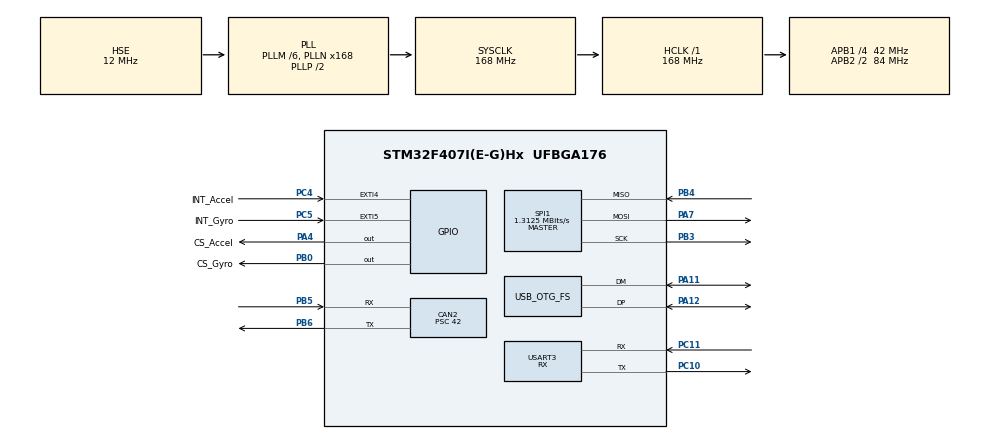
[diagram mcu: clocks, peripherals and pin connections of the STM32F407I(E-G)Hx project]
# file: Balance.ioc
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CAN2.BS1=CAN_BS1_4TQ
CAN2.BS2=CAN_BS2_5TQ
CAN2.CalculateBaudRate=100000
CAN2.CalculateTimeBit=10000
CAN2.CalculateTimeQuantum=1000.0
CAN2.NART=ENABLE
CAN2.Prescaler=42
Dma.Request0=USART3_RX
Dma.USART3_RX.0.Direction=DMA_PERIPH_TO_MEMORY
Dma.USART3_RX.0.FIFOMode=DMA_FIFOMODE_DISABLE
Dma.USART3_RX.0.Instance=DMA1_Stream1
Dma.USART3_RX.0.MemDataAlignment=DMA_MDATAALIGN_BYTE
Dma.USART3_RX.0.MemInc=DMA_MINC_ENABLE
Dma.USART3_RX.0.Mode=DMA_NORMAL
Dma.USART3_RX.0.PeriphDataAlignment=DMA_PDATAALIGN_BYTE
Dma.USART3_RX.0.PeriphInc=DMA_PINC_DISABLE
Dma.USART3_RX.0.Priority=DMA_PRIORITY_HIGH
FREERTOS.INCLUDE_xEventGroupSetBitFromISR=1
FREERTOS.Tasks01=defaultTask,24,128,StartDefaultTask,Default,NULL,Dynamic,NULL,NULL
FREERTOS.configENABLE_FPU=1
FREERTOS.configGENERATE_RUN_TIME_STATS=1
FREERTOS.configMAX_TASK_NAME_LEN=64
FREERTOS.configTOTAL_HEAP_SIZE=15360
FREERTOS.configUSE_STATS_FORMATTING_FUNCTIONS=1
Mcu.Family=STM32F4
Mcu.Name=STM32F407I(E-G)Hx
Mcu.Package=UFBGA176
NVIC.CAN2_RX0_IRQn=true\:5\:0\:false\:false\:true\:true\:true\:true\:true
NVIC.DMA1_Stream1_IRQn=true\:5\:0\:false\:false\:true\:true\:false\:true\:true
NVIC.OTG_FS_IRQn=true\:5\:0\:false\:false\:true\:true\:true\:true\:true
NVIC.PriorityGroup=NVIC_PRIORITYGROUP_4
NVIC.TIM2_IRQn=true\:15\:0\:false\:false\:true\:false\:false\:true\:true
NVIC.TimeBase=TIM2_IRQn
NVIC.TimeBaseIP=TIM2
NVIC.USART3_IRQn=true\:5\:0\:false\:false\:true\:true\:true\:true\:true
PA11.Mode=Device_Only
PA11.Signal=USB_OTG_FS_DM
PA12.Mode=Device_Only
PA12.Signal=USB_OTG_FS_DP
PA13.Mode=Serial_Wire
PA13.Signal=SYS_JTMS-SWDIO
PA14.Mode=Serial_Wire
PA14.Signal=SYS_JTCK-SWCLK
PA4.GPIO_Label=CS_Accel
PA4.GPIO_ModeDefaultOutputPP=GPIO_MODE_OUTPUT_PP
PA4.GPIO_PuPd=GPIO_PULLUP
PA4.GPIO_Speed=GPIO_SPEED_FREQ_HIGH
PA4.Signal=GPIO_Output
PA7.Mode=Full_Duplex_Master
PA7.Signal=SPI1_MOSI
PB0.GPIO_Label=CS_Gyro
PB0.GPIO_PuPd=GPIO_PULLUP
PB0.GPIO_Speed=GPIO_SPEED_FREQ_HIGH
PB0.Signal=GPIO_Output
PB3.Mode=Full_Duplex_Master
PB3.Signal=SPI1_SCK
PB4.Mode=Full_Duplex_Master
PB4.Signal=SPI1_MISO
PB5.Mode=CAN_Activate
PB5.Signal=CAN2_RX
PB6.Mode=CAN_Activate
PB6.Signal=CAN2_TX
PC10.Mode=Asynchronous
PC10.Signal=USART3_TX
PC11.Mode=Asynchronous
PC11.Signal=USART3_RX
PC4.GPIO_Label=INT_Accel
PC4.GPIO_PuPd=GPIO_NOPULL
PC4.Signal=GPXTI4
PC5.GPIO_Label=INT_Gyro
PC5.Signal=GPXTI5
PH0-OSC_IN.Mode=HSE-External-Oscillator
PH0-OSC_IN.Signal=RCC_OSC_IN
PH1-OSC_OUT.Mode=HSE-External-Oscillator
PH1-OSC_OUT.Signal=RCC_OSC_OUT
ProjectManager.HeapSize=0x200
ProjectManager.StackSize=0x400
ProjectManager.TargetToolchain=CMake
RCC.48MHZClocksFreq_Value=48000000
RCC.AHBFreq_Value=168000000
RCC.APB1CLKDivider=RCC_HCLK_DIV4
RCC.APB1Freq_Value=42000000
RCC.APB1TimFreq_Value=84000000
RCC.APB2CLKDivider=RCC_HCLK_DIV2
RCC.APB2Freq_Value=84000000
RCC.APB2TimFreq_Value=168000000
RCC.CortexFreq_Value=168000000
RCC.HCLKFreq_Value=168000000
RCC.HSE_VALUE=12000000
RCC.HSI_VALUE=16000000
RCC.LSE_VALUE=32768
RCC.PLLM=6
RCC.PLLN=168
RCC.PLLQ=7
RCC.SYSCLKFreq_VALUE=168000000
RCC.SYSCLKSource=RCC_SYSCLKSOURCE_PLLCLK
RCC.VCOOutputFreq_Value=336000000
SPI1.BaudRatePrescaler=SPI_BAUDRATEPRESCALER_64
SPI1.CalculateBaudRate=1.3125 MBits/s
SPI1.Direction=SPI_DIRECTION_2LINES
SPI1.Mode=SPI_MODE_MASTER
SPI1.VirtualType=VM_MASTER
TIM3.AutoReloadPreload=TIM_AUTORELOAD_PRELOAD_ENABLE
TIM3.Period=3
TIM3.Prescaler=20
USART3.Mode=MODE_RX
USART3.VirtualMode=VM_ASYNC
USB_DEVICE.CLASS_NAME_FS=CDC
USB_DEVICE.USBD_MAX_NUM_CONFIGURATION-CDC_FS=1
USB_DEVICE.USBD_MAX_NUM_INTERFACES-CDC_FS=1
USB_DEVICE.VirtualMode-CDC_FS=Cdc
USB_DEVICE.VirtualModeFS=Cdc_FS
USB_OTG_FS.VirtualMode=Device_Only
VP_FREERTOS_VS_CMSIS_V2.Mode=CMSIS_V2
VP_SYS_VS_tim2.Mode=TIM2
VP_TIM3_VS_ClockSourceINT.Mode=Internal
VP_USB_DEVICE_VS_USB_DEVICE_CDC_FS.Mode=CDC_FS
board=custom

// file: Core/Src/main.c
/* USER CODE BEGIN Header */
/**
  ******************************************************************************
  * @file           : main.c
  * @brief          : Main program body
  ******************************************************************************
  * @attention
  *
  * Copyright (c) 2026 STMicroelectronics.
  * All rights reserved.
  *
  * This software is licensed under terms that can be found in the LICENSE file
  * in the root directory of this software component.
  * If no LICENSE file comes with this software, it is provided AS-IS.
  *
  ******************************************************************************
  */
/* USER CODE END Header */
#include "main.h"
#include "cmsis_os.h"
#include "can.h"
#include "dma.h"
#include "spi.h"
#include "tim.h"
#include "usart.h"
#include "usb_device.h"
#include "gpio.h"

void SystemClock_Config(void);
void MX_FREERTOS_Init(void);

int main(void)
{

  /* MCU Configuration--------------------------------------------------------*/

  /* Reset of all peripherals, Initializes the Flash interface and the Systick. */
  HAL_Init();

  /* Configure the system clock */
  SystemClock_Config();

  /* Initialize all configured peripherals */
  MX_GPIO_Init();
  MX_DMA_Init();
  MX_CAN2_Init();
  MX_SPI1_Init();
  MX_USART3_UART_Init();
  MX_TIM3_Init();

  /* Init scheduler */
  osKernelInitialize();  /* Call init function for freertos objects (in cmsis_os2.c) */
  MX_FREERTOS_Init();

  /* Start scheduler */
  osKernelStart();

  /* We should never get here as control is now taken by the scheduler */

  /* Infinite loop */
  while (1)
  {

  }
}

void SystemClock_Config(void)
{
  RCC_OscInitTypeDef RCC_OscInitStruct = {0};
  RCC_ClkInitTypeDef RCC_ClkInitStruct = {0};

  /** Configure the main internal regulator output voltage
  */
  __HAL_RCC_PWR_CLK_ENABLE();
  __HAL_PWR_VOLTAGESCALING_CONFIG(PWR_REGULATOR_VOLTAGE_SCALE1);

  /** Initializes the RCC Oscillators according to the specified parameters
  * in the RCC_OscInitTypeDef structure.
  */
  RCC_OscInitStruct.OscillatorType = RCC_OSCILLATORTYPE_HSE;
  RCC_OscInitStruct.HSEState = RCC_HSE_ON;
  RCC_OscInitStruct.PLL.PLLState = RCC_PLL_ON;
  RCC_OscInitStruct.PLL.PLLSource = RCC_PLLSOURCE_HSE;
  RCC_OscInitStruct.PLL.PLLM = 6;
  RCC_OscInitStruct.PLL.PLLN = 168;
  RCC_OscInitStruct.PLL.PLLP = RCC_PLLP_DIV2;
  RCC_OscInitStruct.PLL.PLLQ = 7;
  if (HAL_RCC_OscConfig(&RCC_OscInitStruct) != HAL_OK)
  {
    Error_Handler();
  }

  /** Initializes the CPU, AHB and APB buses clocks
  */
  RCC_ClkInitStruct.ClockType = RCC_CLOCKTYPE_HCLK|RCC_CLOCKTYPE_SYSCLK
                              |RCC_CLOCKTYPE_PCLK1|RCC_CLOCKTYPE_PCLK2;
  RCC_ClkInitStruct.SYSCLKSource = RCC_SYSCLKSOURCE_PLLCLK;
  RCC_ClkInitStruct.AHBCLKDivider = RCC_SYSCLK_DIV1;
  RCC_ClkInitStruct.APB1CLKDivider = RCC_HCLK_DIV4;
  RCC_ClkInitStruct.APB2CLKDivider = RCC_HCLK_DIV2;

  if (HAL_RCC_ClockConfig(&RCC_ClkInitStruct, FLASH_LATENCY_5) != HAL_OK)
  {
    Error_Handler();
  }
}

/* USER CODE BEGIN 4 */

volatile uint32_t ulHighFrequencyTimerTicks = 0;

/* USER CODE END 4 */

void HAL_TIM_PeriodElapsedCallback(TIM_HandleTypeDef *htim)
{
  /* USER CODE BEGIN Callback 0 */
  if (htim->Instance == TIM3)
  {
    ulHighFrequencyTimerTicks++;
    return;
  }
  /* USER CODE END Callback 0 */
  if (htim->Instance == TIM2)
  {
    HAL_IncTick();
  }
}

void Error_Handler(void)
{
  __disable_irq();
  while (1)
  {
  }
}

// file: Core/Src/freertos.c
/* USER CODE BEGIN Header */
/**
  ******************************************************************************
  * File Name          : freertos.c
  * Description        : Code for freertos applications
  ******************************************************************************
  * @attention
  *
  * Copyright (c) 2026 STMicroelectronics.
  * All rights reserved.
  *
  * This software is licensed under terms that can be found in the LICENSE file
  * in the root directory of this software component.
  * If no LICENSE file comes with this software, it is provided AS-IS.
  *
  ******************************************************************************
  */
/* USER CODE END Header */

#include "FreeRTOS.h"
#include "task.h"
#include "main.h"
#include "cmsis_os.h"

/* USER CODE BEGIN Variables */
osThreadId_t imuTaskHandle;
const osThreadAttr_t imuTask_attributes = {
  .name = "imuTask",
  .stack_size = 100 * 4,
  .priority = (osPriority_t) osPriorityAboveNormal,
};

osThreadId_t controlTaskHandle;
const osThreadAttr_t controlTask_attributes = {
  .name = "controlTask",
  .stack_size = 100 * 4,
  .priority = (osPriority_t) osPriorityAboveNormal,
};

osThreadId_t chassisTaskHandle;
const osThreadAttr_t chassisTask_attributes = {
  .name = "chassisTask",
  .stack_size = 100 * 4,
  .priority = (osPriority_t) osPriorityNormal,
};

osThreadId_t motorUpdateTaskHandle;
const osThreadAttr_t motorUpdateTask_attributes = {
  .name = "motorUpdateTask",
  .stack_size = 100 * 4,
  .priority = (osPriority_t) osPriorityAboveNormal,
};

osSemaphoreId_t motorUpdateSemHandle;
const osSemaphoreAttr_t motorUpdateSem_attributes = {
  .name = "motorUpdateSem",
  .attr_bits = 0,
};

osEventFlagsId_t initEventHandle;
const osEventFlagsAttr_t initEvent_attributes = {
  .name = "initEvent",
  .attr_bits = 0,
};

osEventFlagsId_t imuUpdateEventHandle;
const osEventFlagsAttr_t imuUpdateEvent_attributes = {
  .name = "imuUpdateEvent",
  .attr_bits = 0,
};

/* USER CODE END Variables */
/* Definitions for defaultTask */
osThreadId_t defaultTaskHandle;
const osThreadAttr_t defaultTask_attributes = {
  .name = "defaultTask",
  .stack_size = 128 * 4,
  .priority = (osPriority_t) osPriorityNormal,
};

void StartDefaultTask(void *argument);

extern void MX_USB_DEVICE_Init(void);
void MX_FREERTOS_Init(void); /* (MISRA C 2004 rule 8.1) */

/* Hook prototypes */
void configureTimerForRunTimeStats(void);
unsigned long getRunTimeCounterValue(void);

/* USER CODE BEGIN 1 */
/* Functions needed when configGENERATE_RUN_TIME_STATS is on */
__weak void configureTimerForRunTimeStats(void)
{

}

__weak unsigned long getRunTimeCounterValue(void)
{
return 0;
}
/* USER CODE END 1 */

void MX_FREERTOS_Init(void) {

  /* Create the thread(s) */
  /* creation of defaultTask */
  defaultTaskHandle = osThreadNew(StartDefaultTask, NULL, &defaultTask_attributes);

}

void StartDefaultTask(void *argument)
{
  /* init code for USB_DEVICE */
  MX_USB_DEVICE_Init();
  /* USER CODE BEGIN StartDefaultTask */
  /* Infinite loop */
  // for(;;)
  // {
  //   osDelay(1);
  // }
  /* USER CODE END StartDefaultTask */
}
